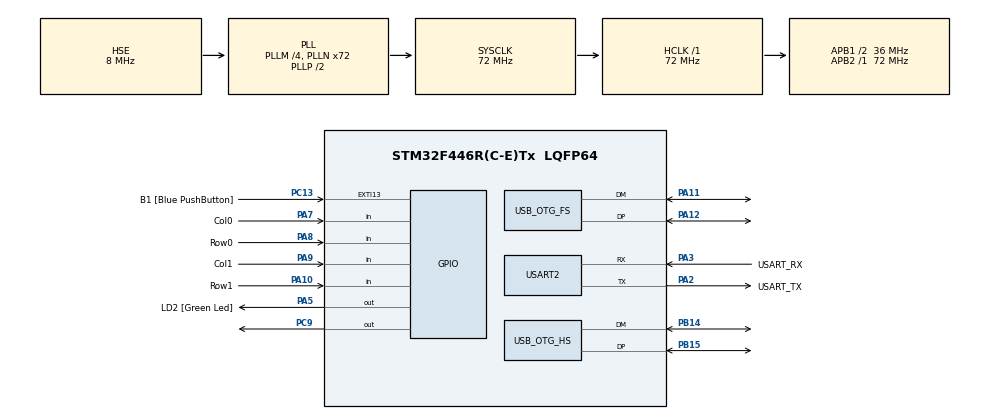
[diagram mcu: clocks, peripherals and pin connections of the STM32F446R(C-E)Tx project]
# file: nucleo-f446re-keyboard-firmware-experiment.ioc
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Mcu.Family=STM32F4
Mcu.Name=STM32F446R(C-E)Tx
Mcu.Package=LQFP64
NVIC.OTG_FS_IRQn=true\:0\:0\:false\:false\:true\:false\:true\:true
NVIC.OTG_HS_IRQn=true\:0\:0\:false\:false\:true\:false\:true\:true
NVIC.PriorityGroup=NVIC_PRIORITYGROUP_0
PA10.GPIO_Label=Row1
PA10.Signal=GPIO_Input
PA11.Mode=Device_Only
PA11.Signal=USB_OTG_FS_DM
PA12.Mode=Device_Only
PA12.Signal=USB_OTG_FS_DP
PA13.GPIO_Label=TMS
PA13.Mode=Serial_Wire
PA13.Signal=SYS_JTMS-SWDIO
PA14.GPIO_Label=TCK
PA14.Mode=Serial_Wire
PA14.Signal=SYS_JTCK-SWCLK
PA2.GPIO_Label=USART_TX
PA2.Mode=Asynchronous
PA2.Signal=USART2_TX
PA3.GPIO_Label=USART_RX
PA3.Mode=Asynchronous
PA3.Signal=USART2_RX
PA5.GPIO_Label=LD2 [Green Led]
PA5.Signal=GPIO_Output
PA7.GPIO_Label=Col0
PA7.GPIO_PuPd=GPIO_NOPULL
PA7.Signal=GPIO_Input
PA8.GPIO_Label=Row0
PA8.Signal=GPIO_Input
PA9.GPIO_Label=Col1
PA9.Signal=GPIO_Input
PB14.Mode=Device_Only_FS
PB14.Signal=USB_OTG_HS_DM
PB15.Mode=Device_Only_FS
PB15.Signal=USB_OTG_HS_DP
PB3.GPIO_Label=SWO
PB3.Signal=SYS_JTDO-SWO
PC13.GPIO_Label=B1 [Blue PushButton]
PC13.GPIO_ModeDefaultEXTI=GPIO_MODE_IT_FALLING
PC13.Signal=GPXTI13
PC14-OSC32_IN.Mode=LSE-External-Oscillator
PC14-OSC32_IN.Signal=RCC_OSC32_IN
PC15-OSC32_OUT.Mode=LSE-External-Oscillator
PC15-OSC32_OUT.Signal=RCC_OSC32_OUT
PC9.GPIO_PuPd=GPIO_PULLUP
PC9.PinState=GPIO_PIN_SET
PC9.Signal=GPIO_Output
PH0-OSC_IN.Mode=HSE-External-Oscillator
PH0-OSC_IN.Signal=RCC_OSC_IN
PH1-OSC_OUT.Mode=HSE-External-Oscillator
PH1-OSC_OUT.Signal=RCC_OSC_OUT
ProjectManager.HeapSize=0x200
ProjectManager.StackSize=0x400
ProjectManager.TargetToolchain=STM32CubeIDE
RCC.48MHZClocksFreq_Value=84000000
RCC.AHBFreq_Value=72000000
RCC.APB1CLKDivider=RCC_HCLK_DIV2
RCC.APB1Freq_Value=36000000
RCC.APB1TimFreq_Value=72000000
RCC.APB2Freq_Value=72000000
RCC.APB2TimFreq_Value=72000000
RCC.CortexFreq_Value=72000000
RCC.FLatency-AdvancedSettings=FLASH_LATENCY_2
RCC.HCLKFreq_Value=72000000
RCC.HSE_VALUE=8000000
RCC.HSI_VALUE=16000000
RCC.PLLM=4
RCC.PLLN=72
RCC.PLLQ=3
RCC.SYSCLKFreq_VALUE=72000000
RCC.SYSCLKSource=RCC_SYSCLKSOURCE_PLLCLK
RCC.USBFreq_Value=48000000
RCC.VCOOutputFreq_Value=144000000
USART2.VirtualMode=VM_ASYNC
USB_DEVICE.CLASS_NAME_FS=HID
USB_DEVICE.CLASS_NAME_HS=HID
USB_DEVICE.VirtualMode-HID_FS=Hid
USB_DEVICE.VirtualMode-HID_HS=Hid
USB_DEVICE.VirtualModeFS=Hid_FS
USB_DEVICE.VirtualModeHS=Hid_HS
USB_OTG_FS.VirtualMode=Device_Only
USB_OTG_HS.VirtualMode-Device_Only_FS=Device_Only_FS
VP_USB_DEVICE_VS_USB_DEVICE_HID_FS.Mode=HID_FS
VP_USB_DEVICE_VS_USB_DEVICE_HID_HS.Mode=HID_HS
board=NUCLEO-F446RE

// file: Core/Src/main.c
/* USER CODE BEGIN Header */
/**
  ******************************************************************************
  * @file           : main.c
  * @brief          : Main program body
  ******************************************************************************
  * @attention
  *
  * Copyright (c) 2023 STMicroelectronics.
  * All rights reserved.
  *
  * This software is licensed under terms that can be found in the LICENSE file
  * in the root directory of this software component.
  * If no LICENSE file comes with this software, it is provided AS-IS.
  *
  ******************************************************************************
  */
/* USER CODE END Header */
#include "main.h"
#include "usb_device.h"

/* USER CODE BEGIN Includes */
#include "usbd_hid.h"
#include "stdio.h"

/* USER CODE END Includes */

UART_HandleTypeDef huart2;

void SystemClock_Config(void);
static void MX_GPIO_Init(void);
static void MX_USART2_UART_Init(void);
/* USER CODE BEGIN PFP */

// https://www.youtube.com/watch?v=Oc58Ikj-lNI
//#ifdef __GNUC__
//	#define PUTCHAR_PROTOTYPE int __io_putchar(int ch)
//#else
//	#define PUTCHAR_PROTOTYPE int fputc(int ch, FILE *f)
//#endif /* __GNUC__ */

/* USER CODE END PFP */

/* USER CODE BEGIN 0 */
extern USBD_HandleTypeDef hUsbDeviceFS;

// https://www.youtube.com/watch?v=WnCpPf7u4Xo
int _write(int file, char *ptr, int len)
{
	HAL_UART_Transmit(&huart2, (uint8_t*)ptr, len, HAL_MAX_DELAY);
	return len;
}

// https://www.youtube.com/watch?v=Oc58Ikj-lNI
//PUTCHAR_PROTOTYPE
//{
//	HAL_UART_Transmit(&huart2, (uint8_t*)&ch, 1, 0xFFFF);
//	return ch;
//}

typedef struct
{
	uint8_t MODIFIER;
	uint8_t RESERVED;
	uint8_t KEYCODE1;
	uint8_t KEYCODE2;
	uint8_t KEYCODE3;
	uint8_t KEYCODE4;
	uint8_t KEYCODE5;
	uint8_t KEYCODE6;
} keyboardHID;

keyboardHID keyboardhid = {0,0,0,0,0,0};

/* USER CODE END 0 */

int main(void)
{

  /* MCU Configuration--------------------------------------------------------*/

  /* Reset of all peripherals, Initializes the Flash interface and the Systick. */
  HAL_Init();

  /* Configure the system clock */
  SystemClock_Config();

  /* Initialize all configured peripherals */
  MX_GPIO_Init();
  MX_USART2_UART_Init();
  MX_USB_DEVICE_Init();
  /* USER CODE BEGIN 2 */
//  uint8_t buff[10] = "helloworld";
  float value = 3.1415f;
  /* USER CODE END 2 */

  /* Infinite loop */
  while (1)
  {

    /* USER CODE BEGIN 3 */
	  if(HAL_GPIO_ReadPin(GPIOA, GPIO_PIN_7))
	  {
		  HAL_GPIO_WritePin(GPIOA, GPIO_PIN_5, GPIO_PIN_SET);
	  }
	  else
	  {
		  HAL_GPIO_WritePin(GPIOA, GPIO_PIN_5, GPIO_PIN_RESET);
	  }

/*************************** Printf() debugging Example ******************************/

//	  // floats not supported by default,
//	  // add "-u_printf_float" flag under Project->Properties->C/C++ Build->Settings->MCU-GCC-Linker->Miscellaneous
//	  printf("hello_world %f\r\n", value);
////	  value++;
//	  HAL_Delay(200);

/**************************** Keyboard Device Example *****************************/

//	  keyboardhid.KEYCODE1 = 0x04; // Send an A
//	  USBD_HID_SendReport(&hUsbDeviceFS, &keyboardhid, sizeof(keyboardhid));
//	  HAL_Delay(50);
//	  keyboardhid.KEYCODE1 = 0x00; // Send an A
//	  USBD_HID_SendReport(&hUsbDeviceFS, &keyboardhid, sizeof(keyboardhid));
//	  HAL_Delay(1000);
  }
  /* USER CODE END 3 */
}

void SystemClock_Config(void)
{
  RCC_OscInitTypeDef RCC_OscInitStruct = {0};
  RCC_ClkInitTypeDef RCC_ClkInitStruct = {0};

  /** Configure the main internal regulator output voltage
  */
  __HAL_RCC_PWR_CLK_ENABLE();
  __HAL_PWR_VOLTAGESCALING_CONFIG(PWR_REGULATOR_VOLTAGE_SCALE3);

  /** Initializes the RCC Oscillators according to the specified parameters
  * in the RCC_OscInitTypeDef structure.
  */
  RCC_OscInitStruct.OscillatorType = RCC_OSCILLATORTYPE_HSE;
  RCC_OscInitStruct.HSEState = RCC_HSE_ON;
  RCC_OscInitStruct.PLL.PLLState = RCC_PLL_ON;
  RCC_OscInitStruct.PLL.PLLSource = RCC_PLLSOURCE_HSE;
  RCC_OscInitStruct.PLL.PLLM = 4;
  RCC_OscInitStruct.PLL.PLLN = 72;
  RCC_OscInitStruct.PLL.PLLP = RCC_PLLP_DIV2;
  RCC_OscInitStruct.PLL.PLLQ = 3;
  RCC_OscInitStruct.PLL.PLLR = 2;
  if (HAL_RCC_OscConfig(&RCC_OscInitStruct) != HAL_OK)
  {
    Error_Handler();
  }

  /** Initializes the CPU, AHB and APB buses clocks
  */
  RCC_ClkInitStruct.ClockType = RCC_CLOCKTYPE_HCLK|RCC_CLOCKTYPE_SYSCLK
                              |RCC_CLOCKTYPE_PCLK1|RCC_CLOCKTYPE_PCLK2;
  RCC_ClkInitStruct.SYSCLKSource = RCC_SYSCLKSOURCE_PLLCLK;
  RCC_ClkInitStruct.AHBCLKDivider = RCC_SYSCLK_DIV1;
  RCC_ClkInitStruct.APB1CLKDivider = RCC_HCLK_DIV2;
  RCC_ClkInitStruct.APB2CLKDivider = RCC_HCLK_DIV1;

  if (HAL_RCC_ClockConfig(&RCC_ClkInitStruct, FLASH_LATENCY_2) != HAL_OK)
  {
    Error_Handler();
  }
}

static void MX_USART2_UART_Init(void)
{

  huart2.Instance = USART2;
  huart2.Init.BaudRate = 115200;
  huart2.Init.WordLength = UART_WORDLENGTH_8B;
  huart2.Init.StopBits = UART_STOPBITS_1;
  huart2.Init.Parity = UART_PARITY_NONE;
  huart2.Init.Mode = UART_MODE_TX_RX;
  huart2.Init.HwFlowCtl = UART_HWCONTROL_NONE;
  huart2.Init.OverSampling = UART_OVERSAMPLING_16;
  if (HAL_UART_Init(&huart2) != HAL_OK)
  {
    Error_Handler();
  }

}

static void MX_GPIO_Init(void)
{
  GPIO_InitTypeDef GPIO_InitStruct = {0};

  /* GPIO Ports Clock Enable */
  __HAL_RCC_GPIOC_CLK_ENABLE();
  __HAL_RCC_GPIOH_CLK_ENABLE();
  __HAL_RCC_GPIOA_CLK_ENABLE();
  __HAL_RCC_GPIOB_CLK_ENABLE();

  /*Configure GPIO pin Output Level */
  HAL_GPIO_WritePin(LD2_GPIO_Port, LD2_Pin, GPIO_PIN_RESET);

  /*Configure GPIO pin Output Level */
  HAL_GPIO_WritePin(GPIOC, GPIO_PIN_9, GPIO_PIN_SET);

  /*Configure GPIO pin : B1_Pin */
  GPIO_InitStruct.Pin = B1_Pin;
  GPIO_InitStruct.Mode = GPIO_MODE_IT_FALLING;
  GPIO_InitStruct.Pull = GPIO_NOPULL;
  HAL_GPIO_Init(B1_GPIO_Port, &GPIO_InitStruct);

  /*Configure GPIO pin : LD2_Pin */
  GPIO_InitStruct.Pin = LD2_Pin;
  GPIO_InitStruct.Mode = GPIO_MODE_OUTPUT_PP;
  GPIO_InitStruct.Pull = GPIO_NOPULL;
  GPIO_InitStruct.Speed = GPIO_SPEED_FREQ_LOW;
  HAL_GPIO_Init(LD2_GPIO_Port, &GPIO_InitStruct);

  /*Configure GPIO pins : Col0_Pin Row0_Pin Col1_Pin Row1_Pin */
  GPIO_InitStruct.Pin = Col0_Pin|Row0_Pin|Col1_Pin|Row1_Pin;
  GPIO_InitStruct.Mode = GPIO_MODE_INPUT;
  GPIO_InitStruct.Pull = GPIO_NOPULL;
  HAL_GPIO_Init(GPIOA, &GPIO_InitStruct);

  /*Configure GPIO pin : PC9 */
  GPIO_InitStruct.Pin = GPIO_PIN_9;
  GPIO_InitStruct.Mode = GPIO_MODE_OUTPUT_PP;
  GPIO_InitStruct.Pull = GPIO_PULLUP;
  GPIO_InitStruct.Speed = GPIO_SPEED_FREQ_LOW;
  HAL_GPIO_Init(GPIOC, &GPIO_InitStruct);

}

void Error_Handler(void)
{
  __disable_irq();
  while (1)
  {
  }
}
